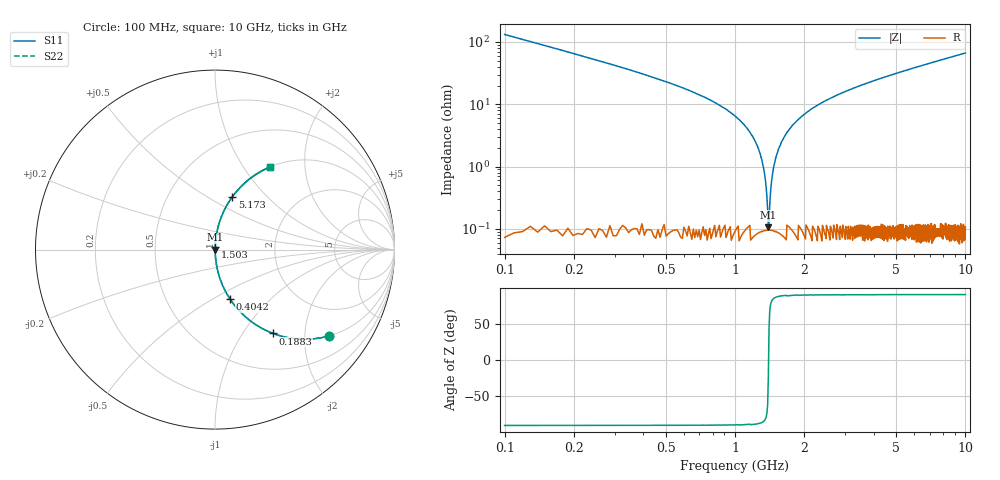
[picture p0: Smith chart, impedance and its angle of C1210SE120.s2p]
! AVX Thin Film Operation		Date: April 2012
! Description: Accu-P® Series, Thin Film, SMD, RF Capacitor
! Part Number: 12101J120FBTTR
!	100	MHz	-	10.05	GHz
!	Serial	Measurements
#	MHZ	S	MA	R	50
!	S11	S21	S12	S22
!	dB	Phase	dB	Phase	dB	Phase	dB	Phase
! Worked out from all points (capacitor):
!   1010 points, 100 MHz to 10 GHz, reference 50 ohm
!   read as one part in series: C = 12 pF near 149.1 MHz
!   lowest |Z| = 105 mohm at 1.395 GHz (marker M1)
!   series resonance near 1.399 GHz, so ESL is about 1.1 nH
!   S11 on the Smith chart (normalised r, x): 100 MHz: 1.00, -2.64; 188.3 MHz: 1.00, -1.38; 404.2 MHz: 1.00, -0.60; 1.503 GHz: 1.00, +0.03; 5.173 GHz: 1.00, +0.65; 10 GHz: 1.00, +1.33
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100  0.797 -37.1  0.604 52.8  0.604 52.8  0.797 -37.1
188.305  0.568 -55.3  0.822 34.6  0.822 34.6  0.568 -55.3
276.611  0.418 -65.2  0.908 24.7  0.908 24.7  0.418 -65.2
404.163  0.288 -73.1  0.957 16.7  0.957 16.7  0.288 -73.1
914.371  0.083 -84.6  0.996 4.7  0.996 4.7  0.083 -84.6
1140.04  0.039 -86.4  0.998 2.2  0.998 2.2  0.039 -86.4
1277.403  0.017 -86.0  0.999 1.0  0.999 1.0  0.017 -86.0
1316.65  0.011 -84.8  0.999 0.7  0.999 0.7  0.011 -84.8
1365.709  0.00459 -78.4  0.999 0.3  0.999 0.3  0.00459 -78.4
1395.144  0.00101 -27.0  0.999 0.0  0.999 0.0  0.00101 -27.0
1434.39  0.00488 79.1  0.999 -0.3  0.999 -0.3  0.00488 79.1
1473.637  0.00996 84.2  0.999 -0.6  0.999 -0.6  0.00996 84.2
1503.072  0.014 85.5  0.999 -0.8  0.999 -0.8  0.014 85.5
1601.189  0.026 86.5  0.999 -1.5  0.999 -1.5  0.026 86.5
1758.176  0.044 86.3  0.998 -2.5  0.998 -2.5  0.044 86.3
2337.066  0.101 83.7  0.994 -5.8  0.994 -5.8  0.101 83.7
3406.541  0.188 78.9  0.981 -10.9  0.981 -10.9  0.188 78.9
5054.906  0.302 72.3  0.953 -17.6  0.953 -17.6  0.302 72.3
5172.646  0.309 71.8  0.95 -18.0  0.95 -18.0  0.309 71.8
6703.271  0.398 66.4  0.916 -23.5  0.916 -23.5  0.398 66.4
8351.635  0.482 61.1  0.875 -28.8  0.875 -28.8  0.482 61.1
10000  0.553 56.3  0.832 -33.6  0.832 -33.6  0.553 56.3
